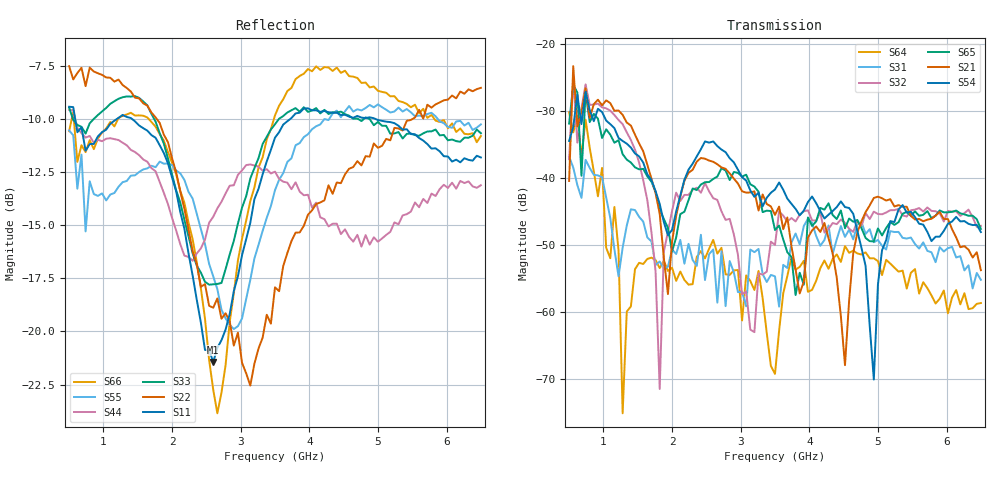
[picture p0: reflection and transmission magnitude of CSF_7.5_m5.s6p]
!Keysight Technologies,M9804A,MY58100912,A.14.10.03
!Date: Thursday, April 27, 2023 10:28:33
!Correction: S11(C  6-Port  )
!S12(C  6-Port  )
!S13(C  6-Port  )
!S14(C  6-Port  )
!S15(C  6-Port  )
!S16(C  6-Port  )
!S21(C  6-Port  )
!S22(C  6-Port  )
!S23(C  6-Port  )
!S24(C  6-Port  )
!S25(C  6-Port  )
!S26(C  6-Port  )
!S31(C  6-Port  )
!S32(C  6-Port  )
!S33(C  6-Port  )
!S34(C  6-Port  )
!S35(C  6-Port  )
!S36(C  6-Port  )
!S41(C  6-Port  )
!S42(C  6-Port  )
!S43(C  6-Port  )
!S44(C  6-Port  )
!S45(C  6-Port  )
!S46(C  6-Port  )
!S51(C  6-Port  )
!S52(C  6-Port  )
!S53(C  6-Port  )
!S54(C  6-Port  )
!S55(C  6-Port  )
!S56(C  6-Port  )
!S61(C  6-Port  )
!S62(C  6-Port  )
!S63(C  6-Port  )
!S64(C  6-Port  )
!S65(C  6-Port  )
!S66(C  6-Port  )
!S6P File: Measurement: :
# Hz S  RI  R 50
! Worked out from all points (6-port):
!   101 points, 500 MHz to 6.5 GHz, reference 50 ohm
!   strongest paths, dB at 500 MHz, 2 GHz, 3.5 GHz, 5 GHz, 6.5 GHz:
!     S54: -34.4, -47.7, -41.7, -55.9, -48.0
!     S21: -40.4, -49.5, -45.5, -42.8, -53.7
!     S65: -31.9, -51.0, -47.7, -47.5, -47.6
!     S32: -37.2, -44.9, -50.0, -45.4, -47.1
!     S31: -36.8, -50.6, -54.7, -49.2, -55.2
!     S64: -30.2, -53.4, -69.2, -52.4, -58.6
!   lowest |S11| = -21.4 dB at 2.6 GHz (marker M1), VSWR 1.19, Z = 42.5 + j2.21 ohm
!   |S11| at or under -10 dB: 589 MHz to 1.189 GHz (600.3 MHz wide, 67.5 % of centre); 1.423 GHz to 3.717 GHz (2.294 GHz wide, 89.3 % of centre); 4.974 GHz to end of sweep
